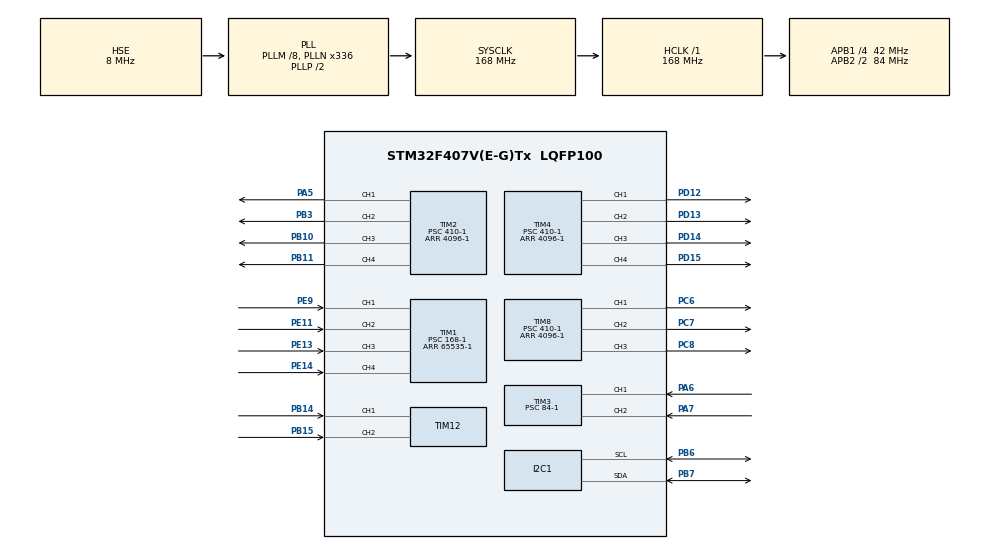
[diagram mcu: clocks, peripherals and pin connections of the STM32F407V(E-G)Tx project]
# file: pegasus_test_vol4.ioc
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I2C1.I2C_Mode=I2C_Fast
Mcu.Family=STM32F4
Mcu.Name=STM32F407V(E-G)Tx
Mcu.Package=LQFP100
NVIC.PriorityGroup=NVIC_PRIORITYGROUP_0
NVIC.TIM1_CC_IRQn=true\:0\:0\:false\:false\:true\:true\:true\:true
NVIC.TIM3_IRQn=true\:0\:0\:false\:false\:true\:true\:true\:true
PA13.Mode=Serial_Wire
PA13.Signal=SYS_JTMS-SWDIO
PA14.Mode=Serial_Wire
PA14.Signal=SYS_JTCK-SWCLK
PA5.Signal=S_TIM2_CH1_ETR
PA6.Signal=S_TIM3_CH1
PA7.Signal=S_TIM3_CH2
PB10.Signal=S_TIM2_CH3
PB11.Signal=S_TIM2_CH4
PB14.Signal=S_TIM12_CH1
PB15.Signal=S_TIM12_CH2
PB3.Signal=S_TIM2_CH2
PB6.Mode=I2C
PB6.Signal=I2C1_SCL
PB7.Mode=I2C
PB7.Signal=I2C1_SDA
PC6.Signal=S_TIM8_CH1
PC7.Signal=S_TIM8_CH2
PC8.Signal=S_TIM8_CH3
PD12.Signal=S_TIM4_CH1
PD13.Signal=S_TIM4_CH2
PD14.Signal=S_TIM4_CH3
PD15.Signal=S_TIM4_CH4
PE11.Signal=S_TIM1_CH2
PE13.Signal=S_TIM1_CH3
PE14.Signal=S_TIM1_CH4
PE9.Signal=S_TIM1_CH1
PH0-OSC_IN.Mode=HSE-External-Oscillator
PH0-OSC_IN.Signal=RCC_OSC_IN
PH1-OSC_OUT.Mode=HSE-External-Oscillator
PH1-OSC_OUT.Signal=RCC_OSC_OUT
ProjectManager.HeapSize=0x200
ProjectManager.StackSize=0x400
ProjectManager.TargetToolchain=STM32CubeIDE
RCC.48MHZClocksFreq_Value=48000000
RCC.AHBFreq_Value=168000000
RCC.APB1CLKDivider=RCC_HCLK_DIV4
RCC.APB1Freq_Value=42000000
RCC.APB1TimFreq_Value=84000000
RCC.APB2CLKDivider=RCC_HCLK_DIV2
RCC.APB2Freq_Value=84000000
RCC.APB2TimFreq_Value=168000000
RCC.CortexFreq_Value=168000000
RCC.HCLKFreq_Value=168000000
RCC.HSE_VALUE=8000000
RCC.HSI_VALUE=16000000
RCC.LSE_VALUE=32768
RCC.PLLM=8
RCC.PLLN=336
RCC.PLLQ=7
RCC.PLLSourceVirtual=RCC_PLLSOURCE_HSE
RCC.SYSCLKFreq_VALUE=168000000
RCC.SYSCLKSource=RCC_SYSCLKSOURCE_PLLCLK
RCC.VCOOutputFreq_Value=336000000
SH.S_TIM12_CH1.0=TIM12_CH1,Input_Capture1_from_TI1
SH.S_TIM12_CH2.0=TIM12_CH2,Input_Capture2_from_TI2
SH.S_TIM1_CH1.0=TIM1_CH1,Input_Capture1_from_TI1
SH.S_TIM1_CH2.0=TIM1_CH2,Input_Capture2_from_TI2
SH.S_TIM1_CH3.0=TIM1_CH3,Input_Capture3_from_TI3
SH.S_TIM1_CH4.0=TIM1_CH4,Input_Capture4_from_TI4
SH.S_TIM2_CH1_ETR.0=TIM2_CH1,PWM Generation1 CH1
SH.S_TIM2_CH2.0=TIM2_CH2,PWM Generation2 CH2
SH.S_TIM2_CH3.0=TIM2_CH3,PWM Generation3 CH3
SH.S_TIM2_CH4.0=TIM2_CH4,PWM Generation4 CH4
SH.S_TIM3_CH1.0=TIM3_CH1,Input_Capture1_from_TI1
SH.S_TIM3_CH2.0=TIM3_CH2,Input_Capture2_from_TI2
SH.S_TIM4_CH1.0=TIM4_CH1,PWM Generation1 CH1
SH.S_TIM4_CH2.0=TIM4_CH2,PWM Generation2 CH2
SH.S_TIM4_CH3.0=TIM4_CH3,PWM Generation3 CH3
SH.S_TIM4_CH4.0=TIM4_CH4,PWM Generation4 CH4
SH.S_TIM8_CH1.0=TIM8_CH1,PWM Generation1 CH1
SH.S_TIM8_CH2.0=TIM8_CH2,PWM Generation2 CH2
SH.S_TIM8_CH3.0=TIM8_CH3,PWM Generation3 CH3
TIM1.Channel-Input_Capture1_from_TI1=TIM_CHANNEL_1
TIM1.Channel-Input_Capture2_from_TI2=TIM_CHANNEL_2
TIM1.Channel-Input_Capture3_from_TI3=TIM_CHANNEL_3
TIM1.Channel-Input_Capture4_from_TI4=TIM_CHANNEL_4
TIM1.Period=65535-1
TIM1.Prescaler=168-1
TIM12.Channel-Input_Capture1_from_TI1=TIM_CHANNEL_1
TIM12.Channel-Input_Capture2_from_TI2=TIM_CHANNEL_2
TIM2.AutoReloadPreload=TIM_AUTORELOAD_PRELOAD_ENABLE
TIM2.Channel-PWM\ Generation1\ CH1=TIM_CHANNEL_1
TIM2.Channel-PWM\ Generation2\ CH2=TIM_CHANNEL_2
TIM2.Channel-PWM\ Generation3\ CH3=TIM_CHANNEL_3
TIM2.Channel-PWM\ Generation4\ CH4=TIM_CHANNEL_4
TIM2.Period=4096-1
TIM2.Prescaler=410-1
TIM3.Channel-Input_Capture1_from_TI1=TIM_CHANNEL_1
TIM3.Channel-Input_Capture2_from_TI2=TIM_CHANNEL_2
TIM3.Period=65535-1
TIM3.Prescaler=84-1
TIM4.AutoReloadPreload=TIM_AUTORELOAD_PRELOAD_ENABLE
TIM4.Channel-PWM\ Generation1\ CH1=TIM_CHANNEL_1
TIM4.Channel-PWM\ Generation2\ CH2=TIM_CHANNEL_2
TIM4.Channel-PWM\ Generation3\ CH3=TIM_CHANNEL_3
TIM4.Channel-PWM\ Generation4\ CH4=TIM_CHANNEL_4
TIM4.Period=4096-1
TIM4.Prescaler=410-1
TIM8.AutoReloadPreload=TIM_AUTORELOAD_PRELOAD_ENABLE
TIM8.Channel-PWM\ Generation1\ CH1=TIM_CHANNEL_1
TIM8.Channel-PWM\ Generation2\ CH2=TIM_CHANNEL_2
TIM8.Channel-PWM\ Generation3\ CH3=TIM_CHANNEL_3
TIM8.Period=4096-1
TIM8.Prescaler=410-1
VP_TIM12_VS_ClockSourceINT.Mode=Internal
VP_TIM1_VS_ClockSourceINT.Mode=Internal
VP_TIM2_VS_ClockSourceINT.Mode=Internal
VP_TIM3_VS_ClockSourceINT.Mode=Internal
VP_TIM4_VS_ClockSourceINT.Mode=Internal
VP_TIM8_VS_ClockSourceINT.Mode=Internal
board=STM32F407G-DISC1

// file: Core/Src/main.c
/* USER CODE BEGIN Header */
/**
  ******************************************************************************
  * @file           : main.c
  * @brief          : Main program body
  ******************************************************************************
  * @attention
  *
  * Copyright (c) 2023 STMicroelectronics.
  * All rights reserved.
  *
  * This software is licensed under terms that can be found in the LICENSE file
  * in the root directory of this software component.
  * If no LICENSE file comes with this software, it is provided AS-IS.
  *
  ******************************************************************************
  */
/* USER CODE END Header */
#include "main.h"
#include <stdio.h>
#include <string.h>
#include <stdlib.h>
#include <math.h>
#include <stdbool.h>
/* USER CODE BEGIN Includes */
#define MPU6050_ADDR 0x68<<1
#define PWR_MGMT_1_REG 0x6B
#define SMPLRT_DIV_REG 0x19
#define GYRO_CNFG_REG 0x1B
#define ACC_CNFG_REG 0x1C
#define LPF_REG 0x1A
#define KP_roll 0.5
#define KI_roll 0.001
#define KD_roll 500
#define KP_pitch 0.5
#define KI_pitch 0.001
#define KD_pitch 500
#define KP_yaw 0.5
#define KI_yaw 0.001
#define KD_yaw 500
/* USER CODE END Includes */

I2C_HandleTypeDef hi2c1;

TIM_HandleTypeDef htim1;
TIM_HandleTypeDef htim2;
TIM_HandleTypeDef htim3;
TIM_HandleTypeDef htim4;
TIM_HandleTypeDef htim8;
TIM_HandleTypeDef htim12;
uint32_t lastmillis=0;
uint8_t data;
uint8_t buffer[2],tuffer[6],cuffer[6]; // ham gyro ve acc değerlerinin tutulduğu listeler
int16_t gyro_raw[3],acc_raw[3];        // anlamlandırılmış ham değerler
float gyro_cal[3],acc_cal[3]; // kalibrasyon offsetlerini tutan liste
int16_t acc_total_vector;
float angle_pitch_gyro, angle_roll_gyro, angle_yaw_gyro;
float angle_pitch_acc, angle_roll_acc, angle_yaw_acc, angle_pitch_acc_sum, angle_roll_acc_sum, angle_yaw_acc_sum, acc_total_vector_sum;
float angle_pitch,angle_roll, angle_yaw;
int16_t raw_temp;
float temp;
int i;
float prevtime,prevtime1,time1,elapsedtime1,prevtime2,time2,elapsedtime2;
HAL_StatusTypeDef set_gyro;
double roll_pid_d, roll_pid_i, roll_last_error, roll_control_signal;
double pitch_pid_d, pitch_pid_i, pitch_last_error, pitch_control_signal;
double yaw_pid_d, yaw_pid_i, yaw_last_error, yaw_control_signal;
int32_t throttle=0;
int32_t motpower1=0, motpower2=0, motpower3=0, motpower4=0;
/* USER CODE END PV */
int32_t prewYaw=0, prewRoll=0, prewPitch=0;
volatile uint32_t ch1_rising = 0, ch2_rising = 0, ch3_rising = 0, ch4_rising = 0, ch5_rising = 0, ch6_rising = 0;
volatile uint32_t ch1_falling = 0, ch2_falling = 0, ch3_falling = 0, ch4_falling = 0, ch5_falling = 0, ch6_falling = 0;
volatile uint32_t pre_ch1 = 0, ch1 = 0, pre_ch2 = 0, ch2 = 0, pre_ch3 = 0, ch3 = 0, pre_ch4 = 0, ch4 = 0, pre_ch5 = 0, ch5 = 0, pre_ch6 = 0, ch6 = 0;
/* USER CODE END PV */

void SystemClock_Config(void);
static void MX_GPIO_Init(void);
static void MX_I2C1_Init(void);
static void MX_TIM1_Init(void);
static void MX_TIM2_Init(void);
static void MX_TIM3_Init(void);
static void MX_TIM4_Init(void);
static void MX_TIM8_Init(void);
static void MX_TIM12_Init(void);
/* USER CODE BEGIN PFP */
void calculateMotorPowers(double PrRoll, double PrPitch, double PrYaw);
double getControlSignal(double error, double kp, double ki, double kd, double pid_d, double pid_i, double last_error, float delta_time);
void calibrationofmot();
void landdrivecontrol(float prYaw);
void rightleftturning(uint32_t yawturn);
/* USER CODE END PFP */

/* USER CODE BEGIN 0 */
void HAL_TIM_IC_CaptureCallback(TIM_HandleTypeDef *htim)
{
	if(htim->Instance == TIM1)  // interrupt TIM1 biriminden geliyorsa gir
	{
		switch(htim->Channel) // aktif kanal hamgisiyse, o kanalın case'ine git
		{
			case HAL_TIM_ACTIVE_CHANNEL_1:
				if((TIM1->CCER & TIM_CCER_CC1P)==0) // kanalin aktif olmasi kesmenin oradan gelecegi anlamina gelmez/gpio pinini kontrol et
				{
					ch1_rising = TIM1->CCR1; // yukselen kenar degerini kaydet
					TIM1->CCER |= TIM_CCER_CC1P; // polariteyi düsen kenar olarak degistir
				}

				else
				{
					ch1_falling = TIM1->CCR1;
					pre_ch1 = ch1_falling - ch1_rising; // dusen kenar degerini kaydet ve yukselen kenar degerinden cikar
					if(pre_ch1 < 0)pre_ch1 += 0xFFFF;// eger sonuc negatifse taban tumleme yap
					if(pre_ch1 < 2010 && pre_ch1 > 990)ch1=pre_ch1;
					TIM1->CCER &= ~TIM_CCER_CC1P; // polariteyi yukselen kenar olarak ayarla

					/*
					 * ch1_rising 65000
					 * ch1 falling 570
					 * pre_ch1 = pre_ch1 falling - pre_ch1_rising = 570 - 65000 = -64430
					 * pre_ch1 +=0xFFFF(65536) --> 1106
					 */
				}
				break;
			case HAL_TIM_ACTIVE_CHANNEL_2:
				if((TIM1->CCER & TIM_CCER_CC2P)==0)
				{
					ch2_rising = TIM1->CCR2;
					TIM1->CCER |= TIM_CCER_CC2P;
				}
				else
				{
					ch2_falling = TIM1->CCR2;
					pre_ch2 = ch2_falling - ch2_rising;
					if(pre_ch2 < 0)pre_ch2 += 0xFFFF;
					if(pre_ch2 < 2010 && pre_ch2 > 990)ch2=pre_ch2;
					TIM1->CCER &= ~TIM_CCER_CC2P;
				}
				break;
			case HAL_TIM_ACTIVE_CHANNEL_3:
				if((TIM1->CCER & TIM_CCER_CC3P)==0)
				{
					ch3_rising = TIM1->CCR3;
					TIM1->CCER |= TIM_CCER_CC3P;
				}
				else
				{
					ch3_falling = TIM1->CCR3;
					pre_ch3 = ch3_falling - ch3_rising;
					if(pre_ch3 < 0)pre_ch3 += 0xFFFF;
					if(pre_ch3 < 2010 && pre_ch3 > 990)ch3=pre_ch3;
					TIM1->CCER &= ~TIM_CCER_CC3P;
				}
				break;
			case HAL_TIM_ACTIVE_CHANNEL_4:
				if((TIM1->CCER & TIM_CCER_CC4P)==0)
				{
					ch4_rising = TIM1->CCR4;
					TIM1->CCER |= TIM_CCER_CC4P;
				}
				else
				{
					ch4_falling = TIM1->CCR4;
					pre_ch4 = ch4_falling - ch4_rising;
					if(pre_ch4 < 0)pre_ch4 += 0xFFFF;
					if(pre_ch4 < 2010 && pre_ch4 > 990)ch4=pre_ch4;
					TIM1->CCER &= ~TIM_CCER_CC4P;
				}
				break;
			default:
				break;
		}
	}
	else if(htim->Instance == TIM3) {
		switch(htim->Channel) // aktif kanal hamgisiyse, o kanalın case'ine git
		{
			case HAL_TIM_ACTIVE_CHANNEL_1:
				if((TIM3->CCER & TIM_CCER_CC1P)==0) // kanalin aktif olmasi kesmenin oradan gelecegi anlamina gelmez/gpio pinini kontrol et
				{
					ch5_rising = TIM3->CCR1; // yukselen kenar degerini kaydet
					TIM3->CCER |= TIM_CCER_CC1P; // polariteyi düsen kenar olarak degistir
				}

				else
				{
					ch5_falling = TIM3->CCR1;
					pre_ch5 = ch5_falling - ch5_rising; // dusen kenar degerini kaydet ve yukselen kenar degerinden cikar
					if(pre_ch5 < 0)pre_ch5 += 0xFFFF;// eger sonuc negatifse taban tumleme yap
					if(pre_ch5 < 2010 && pre_ch5 > 990)ch5=pre_ch5;
					TIM3->CCER &= ~TIM_CCER_CC1P; // polariteyi yukselen kenar olarak ayarla

					/*
					 * ch1_rising 65000
					 * ch1 falling 570
					 * pre_ch1 = pre_ch1 falling - pre_ch1_rising = 570 - 65000 = -64430
					 * pre_ch1 +=0xFFFF(65536) --> 1106
					 */
				}
				break;
			case HAL_TIM_ACTIVE_CHANNEL_2:
				if((TIM3->CCER & TIM_CCER_CC2P)==0)
				{
					ch6_rising = TIM3->CCR2;
					TIM3->CCER |= TIM_CCER_CC2P;
				}
				else
				{
					ch6_falling = TIM3->CCR2;
					pre_ch6 = ch6_falling - ch6_rising;
					if(pre_ch6 < 0)pre_ch6 += 0xFFFF;
					if(pre_ch6 < 2010 && pre_ch6 > 990)ch6=pre_ch6;
					TIM3->CCER &= ~TIM_CCER_CC2P;
				}
				break;
			default:
				break;
		}
	}
}

/* USER CODE END 0 */

int main(void)
{

  /* MCU Configuration--------------------------------------------------------*/

  /* Reset of all peripherals, Initializes the Flash interface and the Systick. */
  HAL_Init();

  /* Configure the system clock */
  SystemClock_Config();

  /* Initialize all configured peripherals */
  MX_GPIO_Init();
  MX_I2C1_Init();
  MX_TIM1_Init();
  MX_TIM2_Init();
  MX_TIM3_Init();
  MX_TIM4_Init();
  MX_TIM8_Init();
  MX_TIM12_Init();
  HAL_TIM_IC_Start_IT(&htim1, TIM_CHANNEL_1); // TIMX->DIER, CCXIE bitini aktif eder.
  HAL_TIM_IC_Start_IT(&htim1, TIM_CHANNEL_2);
  HAL_TIM_IC_Start_IT(&htim1, TIM_CHANNEL_3);
  HAL_TIM_IC_Start_IT(&htim1, TIM_CHANNEL_4);
  HAL_TIM_IC_Start_IT(&htim3, TIM_CHANNEL_1); // TIMX->DIER, CCXIE bitini aktif eder.
  HAL_TIM_IC_Start_IT(&htim3, TIM_CHANNEL_2);
  HAL_TIM_PWM_Start(&htim2, TIM_CHANNEL_1);
  HAL_TIM_PWM_Start(&htim2, TIM_CHANNEL_2);
  HAL_TIM_PWM_Start(&htim2, TIM_CHANNEL_3);
  HAL_TIM_PWM_Start(&htim2, TIM_CHANNEL_4);
  HAL_TIM_PWM_Start(&htim4, TIM_CHANNEL_1);
  HAL_TIM_PWM_Start(&htim4, TIM_CHANNEL_2);
  HAL_TIM_PWM_Start(&htim4, TIM_CHANNEL_3);
  HAL_TIM_PWM_Start(&htim4, TIM_CHANNEL_4);
  data = 0x00;
  HAL_I2C_Mem_Write (&hi2c1, MPU6050_ADDR, PWR_MGMT_1_REG, 1, &data, 1, HAL_MAX_DELAY);
  //kullanılan birimin pointer olarak döndürülmesi, cihaz slave adresi, register adresi, register boyutu, verinin pointer
  //olarak döndürülmesi, verinin boyutu , zaman aşımıı değeri
  // GYRO CNFG --> +-500 derece/saniye --> 08
  data = 0x08;
  HAL_I2C_Mem_Write (&hi2c1, MPU6050_ADDR, GYRO_CNFG_REG, 1, &data, 1, HAL_MAX_DELAY);
  // ACC CNFG --> +-8g --> 10
  data = 0x10;
  HAL_I2C_Mem_Write (&hi2c1, MPU6050_ADDR, ACC_CNFG_REG, 1, &data, 1, HAL_MAX_DELAY);
  data = 0x03;
  HAL_I2C_Mem_Write (&hi2c1, MPU6050_ADDR, LPF_REG, 1, &data, 1, HAL_MAX_DELAY);

  for(i=0; i<2000; i++)
  {
	  prevtime2 = time2;
	  time2 = HAL_GetTick();
	  elapsedtime2=(time2-prevtime2)*1000;

	  cuffer[0]=0x43;
	  HAL_I2C_Master_Transmit(&hi2c1,MPU6050_ADDR,cuffer,1,HAL_MAX_DELAY);
	  HAL_I2C_Master_Receive(&hi2c1,MPU6050_ADDR,cuffer,6,HAL_MAX_DELAY);

	  gyro_raw[0] = (cuffer[0] << 8 | cuffer[1]);
	  gyro_raw[1] = (cuffer[2] << 8 | cuffer[3]);
	  gyro_raw[2] = (cuffer[4] << 8 | cuffer[5]);

	  gyro_cal[0] += gyro_raw[0];
	  gyro_cal[1] += gyro_raw[1];
	  gyro_cal[2] += gyro_raw[2];

	  HAL_Delay(3);

      	  }

  gyro_cal[0] /= 2000;
  gyro_cal[1] /= 2000;
  gyro_cal[2] /= 2000;
  	  /* Infinite loop */
  /* U	SER CODE BEGIN WHILE */
  while (1)
  {
    /* USER CODE END WHILE */
	  int32_t rec[]= {ch1,ch2,ch4};
	  prevtime1 = time1;
	  time1 = HAL_GetTick();
	  elapsedtime1=(time1-prevtime1)*1000;

	  tuffer[0]=0x3B;
	  HAL_I2C_Master_Transmit(&hi2c1,MPU6050_ADDR,tuffer,1,HAL_MAX_DELAY);
	  HAL_I2C_Master_Receive(&hi2c1,MPU6050_ADDR,tuffer,6,HAL_MAX_DELAY);

	  	  // Acc Raw Values
	  acc_raw[0] = (tuffer[0] << 8 | tuffer[1]);
	  acc_raw[1] = (tuffer[2] << 8 | tuffer[3]);
	  acc_raw[2] = (tuffer[4] << 8 | tuffer[5]);

	  buffer[0]=0x41;
	  HAL_I2C_Master_Transmit(&hi2c1,MPU6050_ADDR,buffer,1,HAL_MAX_DELAY);
	  HAL_I2C_Master_Receive(&hi2c1,MPU6050_ADDR,buffer,2,HAL_MAX_DELAY);

	  // Temperature Values
	  raw_temp = (buffer[0] << 8 | buffer[1]);
	  temp = (raw_temp / 340.0) + 36.53;

	  cuffer[0]=0x43;
	  HAL_I2C_Master_Transmit(&hi2c1,MPU6050_ADDR,cuffer,1,HAL_MAX_DELAY);
	  HAL_I2C_Master_Receive(&hi2c1,MPU6050_ADDR,cuffer,6,HAL_MAX_DELAY);

	  // Gyro Raw Values
	  gyro_raw[0] = (cuffer[0] << 8 | cuffer[1]);
	  gyro_raw[1] = (cuffer[2] << 8 | cuffer[3]);
	  gyro_raw[2] = (cuffer[4] << 8 | cuffer[5]);

	  gyro_raw[0] -= gyro_cal[0];
	  gyro_raw[1] -= gyro_cal[1];
	  gyro_raw[2] -= gyro_cal[2];

	  angle_pitch_gyro += gyro_raw[0] * 0.0000611;
	  angle_roll_gyro += gyro_raw[1] * 0.0000611;
	  angle_yaw_gyro += gyro_raw[2] * 0.0000611;

	  angle_pitch_gyro += angle_roll_gyro * sin(gyro_raw[2] * 0.000001066);
	  angle_roll_gyro -= angle_pitch_gyro * sin(gyro_raw[2] * 0.000001066);
	  angle_yaw_gyro -= angle_yaw_gyro * sin(gyro_raw[1] * 0.000001066);

	  acc_total_vector = sqrt((acc_raw[0]*acc_raw[0])+(acc_raw[1]*acc_raw[1])+(acc_raw[2]*acc_raw[2]));

	  //57.296 = 1 / (3.142 / 180)
	  angle_pitch_acc = asin((float)acc_raw[1]/acc_total_vector)* 57.296;
	  angle_roll_acc = asin((float)acc_raw[0]/acc_total_vector)* -57.296;
	  angle_yaw_acc = asin((float)acc_raw[2]/acc_total_vector)* 57.296;

	  angle_pitch_acc -= 1;//0.05;
	  angle_roll_acc -= -1.32;//-1.32;
	  angle_yaw_acc -= 0;
	  if(set_gyro){
		  angle_pitch = angle_pitch_gyro * 0.9996 + angle_pitch_acc * 0.0004;
		  angle_roll = angle_roll_gyro * 0.9996 + angle_roll_acc * 0.0004;
		  angle_yaw = angle_yaw_gyro * 0.9996 + angle_yaw_acc * 0.0004;
	  }
	  else
	  {
		  angle_pitch = angle_pitch_acc;
		  set_gyro = true;
	  }

	  while((HAL_GetTick() - prevtime)*1000 < 4000);
	  prevtime = HAL_GetTick();

	  if(ch6>1500) {
		  throttle = (ch3/4.60);
		  TIM4->CCR1 = 210;
		  TIM4->CCR2 = 210;
		  TIM4->CCR3 = 210;
		  TIM4->CCR4 = 210;

		  for(int i=0; i<3; i++) {
			  rec[i]= (rec[i]/12.5)-116.8;
			  if(i==1)
				  rec[i]-=4;
			  }
			  prewRoll=-1*rec[0]; prewPitch= -1*rec[1]; prewYaw= rec[2];
			  if(throttle>420)
				  throttle=420;
		  calculateMotorPowers(prewRoll,prewPitch,prewYaw);

		  TIM2->CCR1 = motpower1;
		  TIM2->CCR2 = motpower2;
		  TIM2->CCR3 = motpower3;
		  TIM2->CCR4 = motpower4;
	  }
	  else {
		  TIM4->CCR1 = 315;
		  TIM4->CCR2 = 315;
		  TIM4->CCR3 = 315;
		  TIM4->CCR4 = 315;

		  ch1= (ch1/12.5)-116.8;
		  if(ch1<3 || ch1>-3) {
			  prewYaw=angle_yaw;
			  landdrivecontrol(prewYaw);
		  }
		  else
			  rightleftturning(ch1);

	  }
  }
}

void SystemClock_Config(void)
{
  RCC_OscInitTypeDef RCC_OscInitStruct = {0};
  RCC_ClkInitTypeDef RCC_ClkInitStruct = {0};

  /** Configure the main internal regulator output voltage
  */
  __HAL_RCC_PWR_CLK_ENABLE();
  __HAL_PWR_VOLTAGESCALING_CONFIG(PWR_REGULATOR_VOLTAGE_SCALE1);

  /** Initializes the RCC Oscillators according to the specified parameters
  * in the RCC_OscInitTypeDef structure.
  */
  RCC_OscInitStruct.OscillatorType = RCC_OSCILLATORTYPE_HSE;
  RCC_OscInitStruct.HSEState = RCC_HSE_ON;
  RCC_OscInitStruct.PLL.PLLState = RCC_PLL_ON;
  RCC_OscInitStruct.PLL.PLLSource = RCC_PLLSOURCE_HSE;
  RCC_OscInitStruct.PLL.PLLM = 8;
  RCC_OscInitStruct.PLL.PLLN = 336;
  RCC_OscInitStruct.PLL.PLLP = RCC_PLLP_DIV2;
  RCC_OscInitStruct.PLL.PLLQ = 7;
  if (HAL_RCC_OscConfig(&RCC_OscInitStruct) != HAL_OK)
  {
    Error_Handler();
  }

  /** Initializes the CPU, AHB and APB buses clocks
  */
  RCC_ClkInitStruct.ClockType = RCC_CLOCKTYPE_HCLK|RCC_CLOCKTYPE_SYSCLK
                              |RCC_CLOCKTYPE_PCLK1|RCC_CLOCKTYPE_PCLK2;
  RCC_ClkInitStruct.SYSCLKSource = RCC_SYSCLKSOURCE_PLLCLK;
  RCC_ClkInitStruct.AHBCLKDivider = RCC_SYSCLK_DIV1;
  RCC_ClkInitStruct.APB1CLKDivider = RCC_HCLK_DIV4;
  RCC_ClkInitStruct.APB2CLKDivider = RCC_HCLK_DIV2;

  if (HAL_RCC_ClockConfig(&RCC_ClkInitStruct, FLASH_LATENCY_5) != HAL_OK)
  {
    Error_Handler();
  }
}

static void MX_I2C1_Init(void)
{

  hi2c1.Instance = I2C1;
  hi2c1.Init.ClockSpeed = 400000;
  hi2c1.Init.DutyCycle = I2C_DUTYCYCLE_2;
  hi2c1.Init.OwnAddress1 = 0;
  hi2c1.Init.AddressingMode = I2C_ADDRESSINGMODE_7BIT;
  hi2c1.Init.DualAddressMode = I2C_DUALADDRESS_DISABLE;
  hi2c1.Init.OwnAddress2 = 0;
  hi2c1.Init.GeneralCallMode = I2C_GENERALCALL_DISABLE;
  hi2c1.Init.NoStretchMode = I2C_NOSTRETCH_DISABLE;
  if (HAL_I2C_Init(&hi2c1) != HAL_OK)
  {
    Error_Handler();
  }

}

static void MX_TIM1_Init(void)
{

  TIM_ClockConfigTypeDef sClockSourceConfig = {0};
  TIM_MasterConfigTypeDef sMasterConfig = {0};
  TIM_IC_InitTypeDef sConfigIC = {0};

  htim1.Instance = TIM1;
  htim1.Init.Prescaler = 168-1;
  htim1.Init.CounterMode = TIM_COUNTERMODE_UP;
  htim1.Init.Period = 65535-1;
  htim1.Init.ClockDivision = TIM_CLOCKDIVISION_DIV1;
  htim1.Init.RepetitionCounter = 0;
  htim1.Init.AutoReloadPreload = TIM_AUTORELOAD_PRELOAD_DISABLE;
  if (HAL_TIM_Base_Init(&htim1) != HAL_OK)
  {
    Error_Handler();
  }
  sClockSourceConfig.ClockSource = TIM_CLOCKSOURCE_INTERNAL;
  if (HAL_TIM_ConfigClockSource(&htim1, &sClockSourceConfig) != HAL_OK)
  {
    Error_Handler();
  }
  if (HAL_TIM_IC_Init(&htim1) != HAL_OK)
  {
    Error_Handler();
  }
  sMasterConfig.MasterOutputTrigger = TIM_TRGO_RESET;
  sMasterConfig.MasterSlaveMode = TIM_MASTERSLAVEMODE_DISABLE;
  if (HAL_TIMEx_MasterConfigSynchronization(&htim1, &sMasterConfig) != HAL_OK)
  {
    Error_Handler();
  }
  sConfigIC.ICPolarity = TIM_INPUTCHANNELPOLARITY_RISING;
  sConfigIC.ICSelection = TIM_ICSELECTION_DIRECTTI;
  sConfigIC.ICPrescaler = TIM_ICPSC_DIV1;
  sConfigIC.ICFilter = 0;
  if (HAL_TIM_IC_ConfigChannel(&htim1, &sConfigIC, TIM_CHANNEL_1) != HAL_OK)
  {
    Error_Handler();
  }
  if (HAL_TIM_IC_ConfigChannel(&htim1, &sConfigIC, TIM_CHANNEL_2) != HAL_OK)
  {
    Error_Handler();
  }
  if (HAL_TIM_IC_ConfigChannel(&htim1, &sConfigIC, TIM_CHANNEL_3) != HAL_OK)
  {
    Error_Handler();
  }
  if (HAL_TIM_IC_ConfigChannel(&htim1, &sConfigIC, TIM_CHANNEL_4) != HAL_OK)
  {
    Error_Handler();
  }

}

static void MX_TIM2_Init(void)
{

  TIM_ClockConfigTypeDef sClockSourceConfig = {0};
  TIM_MasterConfigTypeDef sMasterConfig = {0};
  TIM_OC_InitTypeDef sConfigOC = {0};

  htim2.Instance = TIM2;
  htim2.Init.Prescaler = 410-1;
  htim2.Init.CounterMode = TIM_COUNTERMODE_UP;
  htim2.Init.Period = 4096-1;
  htim2.Init.ClockDivision = TIM_CLOCKDIVISION_DIV1;
  htim2.Init.AutoReloadPreload = TIM_AUTORELOAD_PRELOAD_ENABLE;
  if (HAL_TIM_Base_Init(&htim2) != HAL_OK)
  {
    Error_Handler();
  }
  sClockSourceConfig.ClockSource = TIM_CLOCKSOURCE_INTERNAL;
  if (HAL_TIM_ConfigClockSource(&htim2, &sClockSourceConfig) != HAL_OK)
  {
    Error_Handler();
  }
  if (HAL_TIM_PWM_Init(&htim2) != HAL_OK)
  {
    Error_Handler();
  }
  sMasterConfig.MasterOutputTrigger = TIM_TRGO_RESET;
  sMasterConfig.MasterSlaveMode = TIM_MASTERSLAVEMODE_DISABLE;
  if (HAL_TIMEx_MasterConfigSynchronization(&htim2, &sMasterConfig) != HAL_OK)
  {
    Error_Handler();
  }
  sConfigOC.OCMode = TIM_OCMODE_PWM1;
  sConfigOC.Pulse = 0;
  sConfigOC.OCPolarity = TIM_OCPOLARITY_HIGH;
  sConfigOC.OCFastMode = TIM_OCFAST_DISABLE;
  if (HAL_TIM_PWM_ConfigChannel(&htim2, &sConfigOC, TIM_CHANNEL_1) != HAL_OK)
  {
    Error_Handler();
  }
  if (HAL_TIM_PWM_ConfigChannel(&htim2, &sConfigOC, TIM_CHANNEL_2) != HAL_OK)
  {
    Error_Handler();
  }
  if (HAL_TIM_PWM_ConfigChannel(&htim2, &sConfigOC, TIM_CHANNEL_3) != HAL_OK)
  {
    Error_Handler();
  }
  if (HAL_TIM_PWM_ConfigChannel(&htim2, &sConfigOC, TIM_CHANNEL_4) != HAL_OK)
  {
    Error_Handler();
  }
  HAL_TIM_MspPostInit(&htim2);

}

static void MX_TIM3_Init(void)
{

  TIM_ClockConfigTypeDef sClockSourceConfig = {0};
  TIM_MasterConfigTypeDef sMasterConfig = {0};
  TIM_IC_InitTypeDef sConfigIC = {0};

  htim3.Instance = TIM3;
  htim3.Init.Prescaler = 84-1;
  htim3.Init.CounterMode = TIM_COUNTERMODE_UP;
  htim3.Init.Period = 65535-1;
  htim3.Init.ClockDivision = TIM_CLOCKDIVISION_DIV1;
  htim3.Init.AutoReloadPreload = TIM_AUTORELOAD_PRELOAD_DISABLE;
  if (HAL_TIM_Base_Init(&htim3) != HAL_OK)
  {
    Error_Handler();
  }
  sClockSourceConfig.ClockSource = TIM_CLOCKSOURCE_INTERNAL;
  if (HAL_TIM_ConfigClockSource(&htim3, &sClockSourceConfig) != HAL_OK)
  {
    Error_Handler();
  }
  if (HAL_TIM_IC_Init(&htim3) != HAL_OK)
  {
    Error_Handler();
  }
  sMasterConfig.MasterOutputTrigger = TIM_TRGO_RESET;
  sMasterConfig.MasterSlaveMode = TIM_MASTERSLAVEMODE_DISABLE;
  if (HAL_TIMEx_MasterConfigSynchronization(&htim3, &sMasterConfig) != HAL_OK)
  {
    Error_Handler();
  }
  sConfigIC.ICPolarity = TIM_INPUTCHANNELPOLARITY_RISING;
  sConfigIC.ICSelection = TIM_ICSELECTION_DIRECTTI;
  sConfigIC.ICPrescaler = TIM_ICPSC_DIV1;
  sConfigIC.ICFilter = 0;
  if (HAL_TIM_IC_ConfigChannel(&htim3, &sConfigIC, TIM_CHANNEL_1) != HAL_OK)
  {
    Error_Handler();
  }
  if (HAL_TIM_IC_ConfigChannel(&htim3, &sConfigIC, TIM_CHANNEL_2) != HAL_OK)
  {
    Error_Handler();
  }

}

static void MX_TIM4_Init(void)
{

  TIM_ClockConfigTypeDef sClockSourceConfig = {0};
  TIM_MasterConfigTypeDef sMasterConfig = {0};
  TIM_OC_InitTypeDef sConfigOC = {0};

  htim4.Instance = TIM4;
  htim4.Init.Prescaler = 410-1;
  htim4.Init.CounterMode = TIM_COUNTERMODE_UP;
  htim4.Init.Period = 4096-1;
  htim4.Init.ClockDivision = TIM_CLOCKDIVISION_DIV1;
  htim4.Init.AutoReloadPreload = TIM_AUTORELOAD_PRELOAD_ENABLE;
  if (HAL_TIM_Base_Init(&htim4) != HAL_OK)
  {
    Error_Handler();
  }
  sClockSourceConfig.ClockSource = TIM_CLOCKSOURCE_INTERNAL;
  if (HAL_TIM_ConfigClockSource(&htim4, &sClockSourceConfig) != HAL_OK)
  {
    Error_Handler();
  }
  if (HAL_TIM_PWM_Init(&htim4) != HAL_OK)
  {
    Error_Handler();
  }
  sMasterConfig.MasterOutputTrigger = TIM_TRGO_RESET;
  sMasterConfig.MasterSlaveMode = TIM_MASTERSLAVEMODE_DISABLE;
  if (HAL_TIMEx_MasterConfigSynchronization(&htim4, &sMasterConfig) != HAL_OK)
  {
    Error_Handler();
  }
  sConfigOC.OCMode = TIM_OCMODE_PWM1;
  sConfigOC.Pulse = 0;
  sConfigOC.OCPolarity = TIM_OCPOLARITY_HIGH;
  sConfigOC.OCFastMode = TIM_OCFAST_DISABLE;
  if (HAL_TIM_PWM_ConfigChannel(&htim4, &sConfigOC, TIM_CHANNEL_1) != HAL_OK)
  {
    Error_Handler();
  }
  if (HAL_TIM_PWM_ConfigChannel(&htim4, &sConfigOC, TIM_CHANNEL_2) != HAL_OK)
  {
    Error_Handler();
  }
  if (HAL_TIM_PWM_ConfigChannel(&htim4, &sConfigOC, TIM_CHANNEL_3) != HAL_OK)
  {
    Error_Handler();
  }
  if (HAL_TIM_PWM_ConfigChannel(&htim4, &sConfigOC, TIM_CHANNEL_4) != HAL_OK)
  {
    Error_Handler();
  }
  HAL_TIM_MspPostInit(&htim4);

}

static void MX_TIM8_Init(void)
{

  TIM_ClockConfigTypeDef sClockSourceConfig = {0};
  TIM_MasterConfigTypeDef sMasterConfig = {0};
  TIM_OC_InitTypeDef sConfigOC = {0};
  TIM_BreakDeadTimeConfigTypeDef sBreakDeadTimeConfig = {0};

  htim8.Instance = TIM8;
  htim8.Init.Prescaler = 410-1;
  htim8.Init.CounterMode = TIM_COUNTERMODE_UP;
  htim8.Init.Period = 4096-1;
  htim8.Init.ClockDivision = TIM_CLOCKDIVISION_DIV1;
  htim8.Init.RepetitionCounter = 0;
  htim8.Init.AutoReloadPreload = TIM_AUTORELOAD_PRELOAD_ENABLE;
  if (HAL_TIM_Base_Init(&htim8) != HAL_OK)
  {
    Error_Handler();
  }
  sClockSourceConfig.ClockSource = TIM_CLOCKSOURCE_INTERNAL;
  if (HAL_TIM_ConfigClockSource(&htim8, &sClockSourceConfig) != HAL_OK)
  {
    Error_Handler();
  }
  if (HAL_TIM_PWM_Init(&htim8) != HAL_OK)
  {
    Error_Handler();
  }
  sMasterConfig.MasterOutputTrigger = TIM_TRGO_RESET;
  sMasterConfig.MasterSlaveMode = TIM_MASTERSLAVEMODE_DISABLE;
  if (HAL_TIMEx_MasterConfigSynchronization(&htim8, &sMasterConfig) != HAL_OK)
  {
    Error_Handler();
  }
  sConfigOC.OCMode = TIM_OCMODE_PWM1;
  sConfigOC.Pulse = 0;
  sConfigOC.OCPolarity = TIM_OCPOLARITY_HIGH;
  sConfigOC.OCNPolarity = TIM_OCNPOLARITY_HIGH;
  sConfigOC.OCFastMode = TIM_OCFAST_DISABLE;
  sConfigOC.OCIdleState = TIM_OCIDLESTATE_RESET;
  sConfigOC.OCNIdleState = TIM_OCNIDLESTATE_RESET;
  if (HAL_TIM_PWM_ConfigChannel(&htim8, &sConfigOC, TIM_CHANNEL_1) != HAL_OK)
  {
    Error_Handler();
  }
  if (HAL_TIM_PWM_ConfigChannel(&htim8, &sConfigOC, TIM_CHANNEL_2) != HAL_OK)
  {
    Error_Handler();
  }
  if (HAL_TIM_PWM_ConfigChannel(&htim8, &sConfigOC, TIM_CHANNEL_3) != HAL_OK)
  {
    Error_Handler();
  }
  sBreakDeadTimeConfig.OffStateRunMode = TIM_OSSR_DISABLE;
  sBreakDeadTimeConfig.OffStateIDLEMode = TIM_OSSI_DISABLE;
  sBreakDeadTimeConfig.LockLevel = TIM_LOCKLEVEL_OFF;
  sBreakDeadTimeConfig.DeadTime = 0;
  sBreakDeadTimeConfig.BreakState = TIM_BREAK_DISABLE;
  sBreakDeadTimeConfig.BreakPolarity = TIM_BREAKPOLARITY_HIGH;
  sBreakDeadTimeConfig.AutomaticOutput = TIM_AUTOMATICOUTPUT_DISABLE;
  if (HAL_TIMEx_ConfigBreakDeadTime(&htim8, &sBreakDeadTimeConfig) != HAL_OK)
  {
    Error_Handler();
  }
  HAL_TIM_MspPostInit(&htim8);

}

static void MX_TIM12_Init(void)
{

  TIM_ClockConfigTypeDef sClockSourceConfig = {0};
  TIM_IC_InitTypeDef sConfigIC = {0};

  htim12.Instance = TIM12;
  htim12.Init.Prescaler = 0;
  htim12.Init.CounterMode = TIM_COUNTERMODE_UP;
  htim12.Init.Period = 65535;
  htim12.Init.ClockDivision = TIM_CLOCKDIVISION_DIV1;
  htim12.Init.AutoReloadPreload = TIM_AUTORELOAD_PRELOAD_DISABLE;
  if (HAL_TIM_Base_Init(&htim12) != HAL_OK)
  {
    Error_Handler();
  }
  sClockSourceConfig.ClockSource = TIM_CLOCKSOURCE_INTERNAL;
  if (HAL_TIM_ConfigClockSource(&htim12, &sClockSourceConfig) != HAL_OK)
  {
    Error_Handler();
  }
  if (HAL_TIM_IC_Init(&htim12) != HAL_OK)
  {
    Error_Handler();
  }
  sConfigIC.ICPolarity = TIM_INPUTCHANNELPOLARITY_RISING;
  sConfigIC.ICSelection = TIM_ICSELECTION_DIRECTTI;
  sConfigIC.ICPrescaler = TIM_ICPSC_DIV1;
  sConfigIC.ICFilter = 0;
  if (HAL_TIM_IC_ConfigChannel(&htim12, &sConfigIC, TIM_CHANNEL_1) != HAL_OK)
  {
    Error_Handler();
  }
  if (HAL_TIM_IC_ConfigChannel(&htim12, &sConfigIC, TIM_CHANNEL_2) != HAL_OK)
  {
    Error_Handler();
  }

}

static void MX_GPIO_Init(void)
{

  /* GPIO Ports Clock Enable */
  __HAL_RCC_GPIOH_CLK_ENABLE();
  __HAL_RCC_GPIOA_CLK_ENABLE();
  __HAL_RCC_GPIOE_CLK_ENABLE();
  __HAL_RCC_GPIOB_CLK_ENABLE();
  __HAL_RCC_GPIOD_CLK_ENABLE();
  __HAL_RCC_GPIOC_CLK_ENABLE();

}

void calibrationofmot() {
	 TIM2->CCR1 = 420;
	 TIM2->CCR2 = 420;
	 TIM2->CCR3 = 420;
	 TIM2->CCR4 = 420;
	 HAL_Delay(3000);

	 TIM2->CCR1 = 220;
	 TIM2->CCR2 = 220;
	 TIM2->CCR3 = 220;
	 TIM2->CCR4 = 220;
	 HAL_Delay(3000);

}

void rightleftturning(uint32_t yawturn) {
	throttle = (ch3/9.2)+206;
	if(ch5>1700) {
		int incdelay;
		if(yawturn>=3){
			if(yawturn>=3 || yawturn<6) incdelay=400;
			else if(yawturn>=6 || yawturn<10) incdelay=300;
			else if(yawturn>=10 || yawturn<13) incdelay=200;
			else if(yawturn>=13 || yawturn<17) incdelay=100;
			else incdelay=40;
			uint32_t now= HAL_GetTick();
			if(now-lastmillis>incdelay) {
				lastmillis=now;
				motpower1=throttle+3;
				motpower2=throttle-3;
				if(motpower1>410) motpower1=410;
				if(motpower2<305) motpower2=315;
			}
		}
		else if(yawturn<=-3){
			if(yawturn<=-3 || yawturn>-6) incdelay=400;
			else if(yawturn<=-6 || yawturn>-10) incdelay=300;
			else if(yawturn<=-10 || yawturn>-13) incdelay=200;
			else if(yawturn<=-13 || yawturn>-17) incdelay=100;
			else incdelay=40;
			uint32_t now= HAL_GetTick();
			if(now-lastmillis>incdelay) {
				lastmillis=now;
				motpower2=throttle+3;
				motpower1=throttle-3;
				if(motpower2>410) motpower2=410;
				if(motpower1<305) motpower1=315;
			}
		}
	}
}

void landdrivecontrol(float prYaw){

	if(ch5>1700) {
		throttle = (ch3/9.2)+206;
		double yawError = prYaw - angle_yaw;
		yaw_control_signal =  getControlSignal(yawError, KP_yaw, KI_yaw, KD_yaw, yaw_pid_d, yaw_pid_i, yaw_last_error, elapsedtime1);
		yaw_last_error= yawError;
		motpower1= throttle-yaw_control_signal;
		if(motpower1<315) motpower1=315;
		if(motpower1>420) motpower1=420;
		motpower2= throttle+yaw_control_signal;
		if(motpower2<315) motpower1=315;
		if(motpower1>420) motpower1=420;
		motpower3= throttle;
		motpower4= throttle;
	}

}

void calculateMotorPowers(double PrRoll, double PrPitch, double PrYaw) {
  double rollError = PrRoll - angle_roll;

  double yawError = PrYaw - angle_yaw;

  double pitchError = PrPitch - angle_pitch;

  pitch_control_signal =  getControlSignal(pitchError, KP_pitch, KI_pitch, KD_pitch, pitch_pid_d, pitch_pid_i, pitch_last_error, elapsedtime1);
  pitch_last_error= pitchError;
  yaw_control_signal =  getControlSignal(yawError, KP_yaw, KI_yaw, KD_yaw, yaw_pid_d, yaw_pid_i, yaw_last_error, elapsedtime1);
  yaw_last_error= yawError;
  roll_control_signal = getControlSignal(rollError, KP_roll, KI_roll, KD_roll, roll_pid_d, roll_pid_i, roll_last_error, elapsedtime1);
  roll_last_error= rollError;
  motpower1 = throttle + (int32_t)(-1*roll_control_signal - yaw_control_signal + pitch_control_signal);
  if(motpower1<229) motpower1=229;
  if(motpower1>420) motpower1=420;
  motpower2 = throttle + (int32_t)(roll_control_signal + yaw_control_signal + pitch_control_signal);
  if(motpower2<210) motpower2=210;
  if(motpower2>409) motpower2=409;
  motpower3 = throttle + (int32_t)(roll_control_signal - yaw_control_signal - pitch_control_signal);
  if(motpower3<220) motpower3=220;
  if(motpower3>420) motpower3=420;
  motpower4 = throttle + (int32_t)(-1*roll_control_signal + yaw_control_signal - pitch_control_signal);
  if(motpower4<220) motpower4=220;
  if(motpower4>420) motpower4=420;
}

double getControlSignal(double error, double kp, double ki, double kd, double pid_d, double pid_i, double last_error, float delta_time) {
  double pid_p = error;
  pid_d = (error - last_error) / delta_time;
  pid_i += error * delta_time;
  if(error<2 && error>-2)
	  pid_i=0;
  double control_signal = (kp*pid_p) + (ki*pid_i) + (kd*pid_d);
  //last_error = error;  not:bu ifadeyi fonksiyondan hemen sonra yazacağız.
  return control_signal;
}
void Error_Handler(void)
{
  __disable_irq();
  while (1)
  {
  }
}
